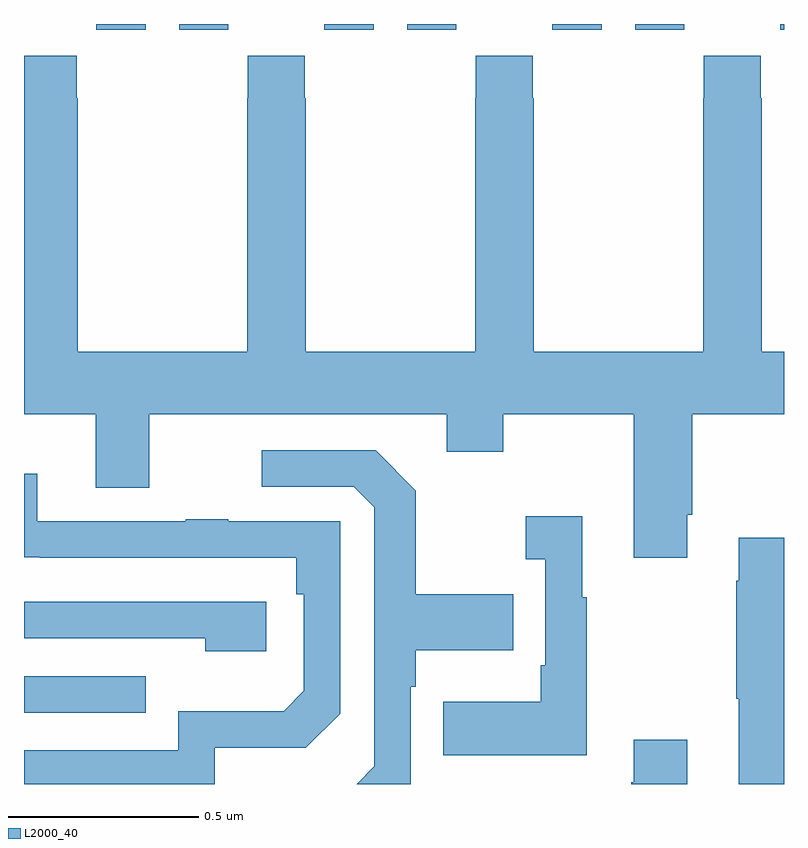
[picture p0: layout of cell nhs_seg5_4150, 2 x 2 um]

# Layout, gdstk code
import gdstk
lib = gdstk.Library(unit=1e-6, precision=1e-09)
def R(c, l, rs):  # rectangles x0, y0, x1, y1
    for r in rs: c.add(gdstk.rectangle(r[:2], r[2:], *l))
def P(c, l, *ps):  # polygons
    for p in ps: c.add(gdstk.Polygon(p, *l))
L2000_40 = (2000, 40)

nhs_seg5_4150 = lib.new_cell('nhs_seg5_4150')
R(nhs_seg5_4150, L2000_40, [(167,843.987,167.321,844.083), (167.19,845.784,167.32,845.799), (167.408,845.784,167.538,845.799), (167.79,845.784,167.92,845.799), (168.008,845.784,168.138,845.799), (168.39,845.784,168.52,845.799), (168.608,845.784,168.738,845.799), (168.99,845.784,169,845.799)])
P(nhs_seg5_4150, L2000_40, [(168.745,844.507),(168.758,844.507),(168.758,844.772),(169,844.772),(169,844.936),(168.942,844.936),(168.942,845.603),(168.939,845.603),(168.939,845.716),(168.789,845.716),(168.789,845.603),(168.787,845.603),(168.787,844.936),(168.342,844.936),(168.342,845.603),(168.339,845.603),(168.339,845.716),(168.189,845.716),(168.189,845.603),(168.187,845.603),(168.187,844.936),(167.742,844.936),(167.742,845.603),(167.739,845.603),(167.739,845.716),(167.589,845.716),(167.589,845.603),(167.587,845.603),(167.587,844.936),(167.142,844.936),(167.142,845.603),(167.139,845.603),(167.139,845.716),(167,845.716),(167,844.772),(167.189,844.772),(167.189,844.578),(167.329,844.578),(167.329,844.772),(168.113,844.772),(168.113,844.673),(168.261,844.673),(168.261,844.772),(168.605,844.772),(168.605,844.395),(168.745,844.395)],
  [(168.018,844.055),(168.031,844.055),(168.031,844.151),(168.287,844.151),(168.287,844.299),(168.031,844.299),(168.031,844.571),(167.925,844.677),(167.625,844.677),(167.625,844.581),(167.868,844.581),(167.922,844.527),(167.922,843.846),(167.875,843.799),(168.018,843.799)],
  [(167.502,843.894),(167.742,843.894),(167.832,843.984),(167.832,844.491),(167.537,844.491),(167.537,844.496),(167.425,844.496),(167.425,844.491),(167.035,844.491),(167.035,844.615),(167,844.615),(167,844.396),(167.041,844.396),(167.041,844.395),(167.716,844.395),(167.716,844.298),(167.736,844.298),(167.736,844.044),(167.683,843.991),(167.406,843.991),(167.406,843.888),(167,843.888),(167,843.799),(167.502,843.799)],
  [(168.481,844.291),(168.469,844.291),(168.469,844.504),(168.321,844.504),(168.321,844.391),(168.372,844.391),(168.372,844.111),(168.36,844.111),(168.36,844.015),(168.103,844.015),(168.103,843.875),(168.481,843.875)],
  [(169,844.447),(168.881,844.447),(168.881,844.334),(168.874,844.334),(168.874,844.023),(168.881,844.023),(168.881,843.799),(169,843.799)],
  [(167.638,844.278),(167,844.278),(167,844.182),(167.477,844.182),(167.477,844.148),(167.638,844.148)],
  [(168.745,843.916),(168.605,843.916),(168.605,843.803),(168.598,843.803),(168.598,843.799),(168.745,843.799)])

lib.write_gds('nhs_seg5_4150.gds')
